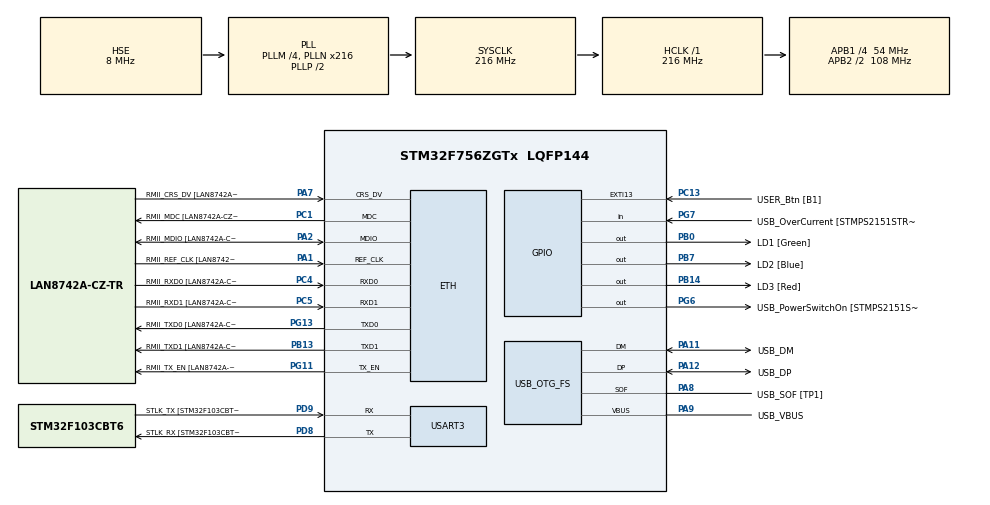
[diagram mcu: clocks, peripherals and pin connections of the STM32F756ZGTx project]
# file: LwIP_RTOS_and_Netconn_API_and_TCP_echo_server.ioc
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ETH.MediaInterface=ETH_MEDIA_INTERFACE_RMII
ETH.PhyAddress=0
FREERTOS.Tasks01=defaultTask,0,256,StartDefaultTask,Default,NULL,Dynamic,NULL,NULL
FREERTOS.configCHECK_FOR_STACK_OVERFLOW=2
FREERTOS.configMINIMAL_STACK_SIZE=256
FREERTOS.configTOTAL_HEAP_SIZE=32768
FREERTOS.configUSE_NEWLIB_REENTRANT=1
LWIP.Version=v2.1.2_Cube
Mcu.Family=STM32F7
Mcu.Name=STM32F756ZGTx
Mcu.Package=LQFP144
NVIC.ETH_IRQn=true\:5\:0\:false\:false\:true\:true\:false\:true
NVIC.PriorityGroup=NVIC_PRIORITYGROUP_4
NVIC.TIM6_DAC_IRQn=true\:15\:0\:false\:false\:true\:false\:false\:true
NVIC.TimeBase=TIM6_DAC_IRQn
NVIC.TimeBaseIP=TIM6
PA1.GPIO_Label=RMII_REF_CLK [LAN8742A-CZ-TR_REFCLK0]
PA1.Mode=RMII
PA1.Signal=ETH_REF_CLK
PA10.GPIO_Label=USB_ID
PA10.Signal=USB_OTG_FS_ID
PA11.GPIO_Label=USB_DM
PA11.Mode=Device_Only
PA11.Signal=USB_OTG_FS_DM
PA12.GPIO_Label=USB_DP
PA12.Mode=Device_Only
PA12.Signal=USB_OTG_FS_DP
PA13.GPIO_Label=TMS
PA13.Mode=Trace_Asynchronous_SW
PA13.Signal=SYS_JTMS-SWDIO
PA14.GPIO_Label=TCK
PA14.Mode=Trace_Asynchronous_SW
PA14.Signal=SYS_JTCK-SWCLK
PA2.GPIO_Label=RMII_MDIO [LAN8742A-CZ-TR_MDIO]
PA2.Mode=RMII
PA2.Signal=ETH_MDIO
PA7.GPIO_Label=RMII_CRS_DV [LAN8742A-CZ-TR_CRS_DV]
PA7.Mode=RMII
PA7.Signal=ETH_CRS_DV
PA8.GPIO_Label=USB_SOF [TP1]
PA8.Mode=Activate_SOF_FS
PA8.Signal=USB_OTG_FS_SOF
PA9.GPIO_Label=USB_VBUS
PA9.Mode=Activate_VBUS
PA9.Signal=USB_OTG_FS_VBUS
PB0.GPIO_Label=LD1 [Green]
PB0.Signal=GPIO_Output
PB13.GPIO_Label=RMII_TXD1 [LAN8742A-CZ-TR_TXD1]
PB13.Mode=RMII
PB13.Signal=ETH_TXD1
PB14.GPIO_Label=LD3 [Red]
PB14.Signal=GPIO_Output
PB3.GPIO_Label=SWO
PB3.Mode=Trace_Asynchronous_SW
PB3.Signal=SYS_JTDO-SWO
PB7.GPIO_Label=LD2 [Blue]
PB7.Signal=GPIO_Output
PC1.GPIO_Label=RMII_MDC [LAN8742A-CZ-TR_MDC]
PC1.Mode=RMII
PC1.Signal=ETH_MDC
PC13.GPIO_Label=USER_Btn [B1]
PC13.Signal=GPXTI13
PC14/OSC32_IN.Mode=LSE-External-Oscillator
PC14/OSC32_IN.Signal=RCC_OSC32_IN
PC15/OSC32_OUT.Mode=LSE-External-Oscillator
PC15/OSC32_OUT.Signal=RCC_OSC32_OUT
PC4.GPIO_Label=RMII_RXD0 [LAN8742A-CZ-TR_RXD0]
PC4.Mode=RMII
PC4.Signal=ETH_RXD0
PC5.GPIO_Label=RMII_RXD1 [LAN8742A-CZ-TR_RXD1]
PC5.Mode=RMII
PC5.Signal=ETH_RXD1
PD8.GPIO_Label=STLK_RX [STM32F103CBT6_PA3]
PD8.Mode=Asynchronous
PD8.Signal=USART3_TX
PD9.GPIO_Label=STLK_TX [STM32F103CBT6_PA2]
PD9.Mode=Asynchronous
PD9.Signal=USART3_RX
PG11.GPIO_Label=RMII_TX_EN [LAN8742A-CZ-TR_TXEN]
PG11.Mode=RMII
PG11.Signal=ETH_TX_EN
PG13.GPIO_Label=RMII_TXD0 [LAN8742A-CZ-TR_TXD0]
PG13.Mode=RMII
PG13.Signal=ETH_TXD0
PG6.GPIO_Label=USB_PowerSwitchOn [STMPS2151STR_EN]
PG6.Signal=GPIO_Output
PG7.GPIO_Label=USB_OverCurrent [STMPS2151STR_FAULT]
PG7.Signal=GPIO_Input
PH0/OSC_IN.GPIO_Label=MCO [STM32F103CBT6_PA8]
PH0/OSC_IN.Mode=HSE-External-Clock-Source
PH0/OSC_IN.Signal=RCC_OSC_IN
PH1/OSC_OUT.Mode=HSE-External-Clock-Source
PH1/OSC_OUT.Signal=RCC_OSC_OUT
ProjectManager.HeapSize=0x200
ProjectManager.StackSize=0x400
ProjectManager.TargetToolchain=STM32CubeIDE
RCC.AHBFreq_Value=216000000
RCC.APB1CLKDivider=RCC_HCLK_DIV4
RCC.APB1Freq_Value=54000000
RCC.APB1TimFreq_Value=108000000
RCC.APB2CLKDivider=RCC_HCLK_DIV2
RCC.APB2Freq_Value=108000000
RCC.APB2TimFreq_Value=216000000
RCC.CortexFreq_Value=216000000
RCC.HCLKFreq_Value=216000000
RCC.HSE_VALUE=8000000
RCC.HSI_VALUE=16000000
RCC.PLLM=4
RCC.PLLN=216
RCC.PLLQ=9
RCC.SYSCLKFreq_VALUE=216000000
RCC.SYSCLKSource=RCC_SYSCLKSOURCE_PLLCLK
RCC.USBFreq_Value=48000000
RCC.VCOOutputFreq_Value=432000000
USART3.VirtualMode-Asynchronous=VM_ASYNC
USB_OTG_FS.VirtualMode=Device_Only
VP_FREERTOS_VS_CMSIS_V1.Mode=CMSIS_V1
VP_LWIP_VS_Enabled.Mode=Enabled
VP_SYS_VS_tim6.Mode=TIM6
board=custom

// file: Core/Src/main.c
/* USER CODE BEGIN Header */
/**
  ******************************************************************************
  * @file           : main.c
  * @brief          : Main program body
  ******************************************************************************
  * @attention
  *
  * <h2><center>&copy; Copyright (c) 2021 STMicroelectronics.
  * All rights reserved.</center></h2>
  *
  * This software component is licensed by ST under BSD 3-Clause license,
  * the "License"; You may not use this file except in compliance with the
  * License. You may obtain a copy of the License at:
  *                        opensource.org/licenses/BSD-3-Clause
  *
  ******************************************************************************
  */
/* USER CODE END Header */
#include "main.h"
#include "cmsis_os.h"
#include "lwip.h"
#include "usart.h"
#include "usb_otg.h"
#include "gpio.h"

void SystemClock_Config(void);
void MX_FREERTOS_Init(void);

int main(void)
{

  /* MCU Configuration--------------------------------------------------------*/

  /* Reset of all peripherals, Initializes the Flash interface and the Systick. */
  HAL_Init();

  /* Configure the system clock */
  SystemClock_Config();

  /* Initialize all configured peripherals */
  MX_GPIO_Init();
  MX_USB_OTG_FS_PCD_Init();
  MX_USART3_UART_Init();

  /* Call init function for freertos objects (in freertos.c) */
  MX_FREERTOS_Init();
  /* Start scheduler */
  osKernelStart();

  /* We should never get here as control is now taken by the scheduler */
  /* Infinite loop */
  while (1)
  {

  }
}

void SystemClock_Config(void)
{
  RCC_OscInitTypeDef RCC_OscInitStruct = {0};
  RCC_ClkInitTypeDef RCC_ClkInitStruct = {0};
  RCC_PeriphCLKInitTypeDef PeriphClkInitStruct = {0};

  /** Configure LSE Drive Capability
  */
  HAL_PWR_EnableBkUpAccess();
  /** Configure the main internal regulator output voltage
  */
  __HAL_RCC_PWR_CLK_ENABLE();
  __HAL_PWR_VOLTAGESCALING_CONFIG(PWR_REGULATOR_VOLTAGE_SCALE1);
  /** Initializes the RCC Oscillators according to the specified parameters
  * in the RCC_OscInitTypeDef structure.
  */
  RCC_OscInitStruct.OscillatorType = RCC_OSCILLATORTYPE_HSE;
  RCC_OscInitStruct.HSEState = RCC_HSE_BYPASS;
  RCC_OscInitStruct.PLL.PLLState = RCC_PLL_ON;
  RCC_OscInitStruct.PLL.PLLSource = RCC_PLLSOURCE_HSE;
  RCC_OscInitStruct.PLL.PLLM = 4;
  RCC_OscInitStruct.PLL.PLLN = 216;
  RCC_OscInitStruct.PLL.PLLP = RCC_PLLP_DIV2;
  RCC_OscInitStruct.PLL.PLLQ = 9;
  if (HAL_RCC_OscConfig(&RCC_OscInitStruct) != HAL_OK)
  {
    Error_Handler();
  }
  /** Activate the Over-Drive mode
  */
  if (HAL_PWREx_EnableOverDrive() != HAL_OK)
  {
    Error_Handler();
  }
  /** Initializes the CPU, AHB and APB buses clocks
  */
  RCC_ClkInitStruct.ClockType = RCC_CLOCKTYPE_HCLK|RCC_CLOCKTYPE_SYSCLK
                              |RCC_CLOCKTYPE_PCLK1|RCC_CLOCKTYPE_PCLK2;
  RCC_ClkInitStruct.SYSCLKSource = RCC_SYSCLKSOURCE_PLLCLK;
  RCC_ClkInitStruct.AHBCLKDivider = RCC_SYSCLK_DIV1;
  RCC_ClkInitStruct.APB1CLKDivider = RCC_HCLK_DIV4;
  RCC_ClkInitStruct.APB2CLKDivider = RCC_HCLK_DIV2;

  if (HAL_RCC_ClockConfig(&RCC_ClkInitStruct, FLASH_LATENCY_7) != HAL_OK)
  {
    Error_Handler();
  }
  PeriphClkInitStruct.PeriphClockSelection = RCC_PERIPHCLK_USART3|RCC_PERIPHCLK_CLK48;
  PeriphClkInitStruct.Usart3ClockSelection = RCC_USART3CLKSOURCE_PCLK1;
  PeriphClkInitStruct.Clk48ClockSelection = RCC_CLK48SOURCE_PLL;
  if (HAL_RCCEx_PeriphCLKConfig(&PeriphClkInitStruct) != HAL_OK)
  {
    Error_Handler();
  }
}

void HAL_TIM_PeriodElapsedCallback(TIM_HandleTypeDef *htim)
{
  if (htim->Instance == TIM6) {
    HAL_IncTick();
  }
}

void Error_Handler(void)
{
  __disable_irq();
  while (1)
  {
  }
}

/************************ (C) COPYRIGHT STMicroelectronics *****END OF FILE****/

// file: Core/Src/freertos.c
/* USER CODE BEGIN Header */
/**
 ******************************************************************************
 * File Name          : freertos.c
 * Description        : Code for freertos applications
 ******************************************************************************
 * @attention
 *
 * <h2><center>&copy; Copyright (c) 2021 STMicroelectronics.
 * All rights reserved.</center></h2>
 *
 * This software component is licensed by ST under Ultimate Liberty license
 * SLA0044, the "License"; You may not use this file except in compliance with
 * the License. You may obtain a copy of the License at:
 *                             www.st.com/SLA0044
 *
 ******************************************************************************
 */
/* USER CODE END Header */

#include "FreeRTOS.h"
#include "task.h"
#include "main.h"
#include "cmsis_os.h"

/* USER CODE BEGIN Includes */
#include "lwip.h"
#include "lwip/api.h"
/* USER CODE END Includes */

/* USER CODE BEGIN Variables */
osThreadId echoTaskHandle; // Echo server task handle
/* USER CODE END Variables */
osThreadId defaultTaskHandle;

/* USER CODE BEGIN FunctionPrototypes */
void StartEchoTask(void const *argument); // Echo server task function
/* USER CODE END FunctionPrototypes */

void StartDefaultTask(void const * argument);

extern void MX_LWIP_Init(void);
void MX_FREERTOS_Init(void); /* (MISRA C 2004 rule 8.1) */

/* GetIdleTaskMemory prototype (linked to static allocation support) */
void vApplicationGetIdleTaskMemory( StaticTask_t **ppxIdleTaskTCBBuffer, StackType_t **ppxIdleTaskStackBuffer, uint32_t *pulIdleTaskStackSize );

/* Hook prototypes */
void vApplicationStackOverflowHook(xTaskHandle xTask, signed char *pcTaskName);

/* USER CODE BEGIN 4 */
__weak void vApplicationStackOverflowHook(xTaskHandle xTask,
		signed char *pcTaskName) {
	HAL_GPIO_WritePin(LD3_GPIO_Port, LD3_Pin, GPIO_PIN_SET); // Turn on red led when detects stack overflow
	/* Run time stack overflow checking is performed if
	 configCHECK_FOR_STACK_OVERFLOW is defined to 1 or 2. This hook function is
	 called if a stack overflow is detected. */
}
/* USER CODE END 4 */

/* USER CODE BEGIN GET_IDLE_TASK_MEMORY */
static StaticTask_t xIdleTaskTCBBuffer;
static StackType_t xIdleStack[configMINIMAL_STACK_SIZE];

void vApplicationGetIdleTaskMemory(StaticTask_t **ppxIdleTaskTCBBuffer,
		StackType_t **ppxIdleTaskStackBuffer, uint32_t *pulIdleTaskStackSize) {
	*ppxIdleTaskTCBBuffer = &xIdleTaskTCBBuffer;
	*ppxIdleTaskStackBuffer = &xIdleStack[0];
	*pulIdleTaskStackSize = configMINIMAL_STACK_SIZE;
	/* place for user code */
}
/* USER CODE END GET_IDLE_TASK_MEMORY */

void MX_FREERTOS_Init(void) {

  /* Create the thread(s) */
  /* definition and creation of defaultTask */
  osThreadDef(defaultTask, StartDefaultTask, osPriorityNormal, 0, 256);
  defaultTaskHandle = osThreadCreate(osThread(defaultTask), NULL);

}

void StartDefaultTask(void const * argument)
{
  /* init code for LWIP */
  MX_LWIP_Init();
  /* USER CODE BEGIN StartDefaultTask */
	osThreadDef(echoTask, StartEchoTask, osPriorityNormal, 0,
			configMINIMAL_STACK_SIZE);
	echoTaskHandle = osThreadCreate(osThread(echoTask), NULL); // Run Echo Task
	/* Infinite loop */
	for (;;) {
		HAL_GPIO_TogglePin(LD1_GPIO_Port, LD1_Pin); // Toggle running led
		osDelay(500);
	}
  /* USER CODE END StartDefaultTask */
}

/* USER CODE BEGIN Application */
void StartEchoTask(void const *argument) { // ITS IMPPORTANT TO PUT #define LWIP_NETCONN 1 INSIDE lwipopts.h. Without it you cannot use NETCONN API
	struct netconn *conn, *newconn;
	err_t err, accept_err;
	struct netbuf *buf;
	void *data;
	u16_t len;

	LWIP_UNUSED_ARG ( argument );

	conn = netconn_new(NETCONN_TCP); //new tcp netconn

	if (conn != NULL) {
		err = netconn_bind(conn, NULL, 7);  //bind to port 7

		if (err == ERR_OK) {
			netconn_listen(conn); // Listen at port 7

			while (1) {
				accept_err = netconn_accept(conn, &newconn); // Accept new connection, if connection is not establish, this task is in blocking mode

				if (accept_err == ERR_OK)  // accept ok
						{
					while (netconn_recv(newconn, &buf) == ERR_OK) // receive data
					{
						do {
							netbuf_data(buf, &data, &len); //receive data pointer & length
							netconn_write(newconn, data, len, NETCONN_COPY); // Close back to Client is the echo

							HAL_GPIO_TogglePin( LD2_GPIO_Port,LD2_Pin);  //toggle data led
						} while (netbuf_next(buf) >= 0);  //check buffer empty

						netbuf_delete(buf);  //clear buffer
					}

					netconn_close(newconn);  //close session
					netconn_delete(newconn);  //free memory
				}
			}
		} else {
			netconn_delete(newconn);  //free memory
		}
	}
}

/* USER CODE END Application */

/************************ (C) COPYRIGHT STMicroelectronics *****END OF FILE****/
